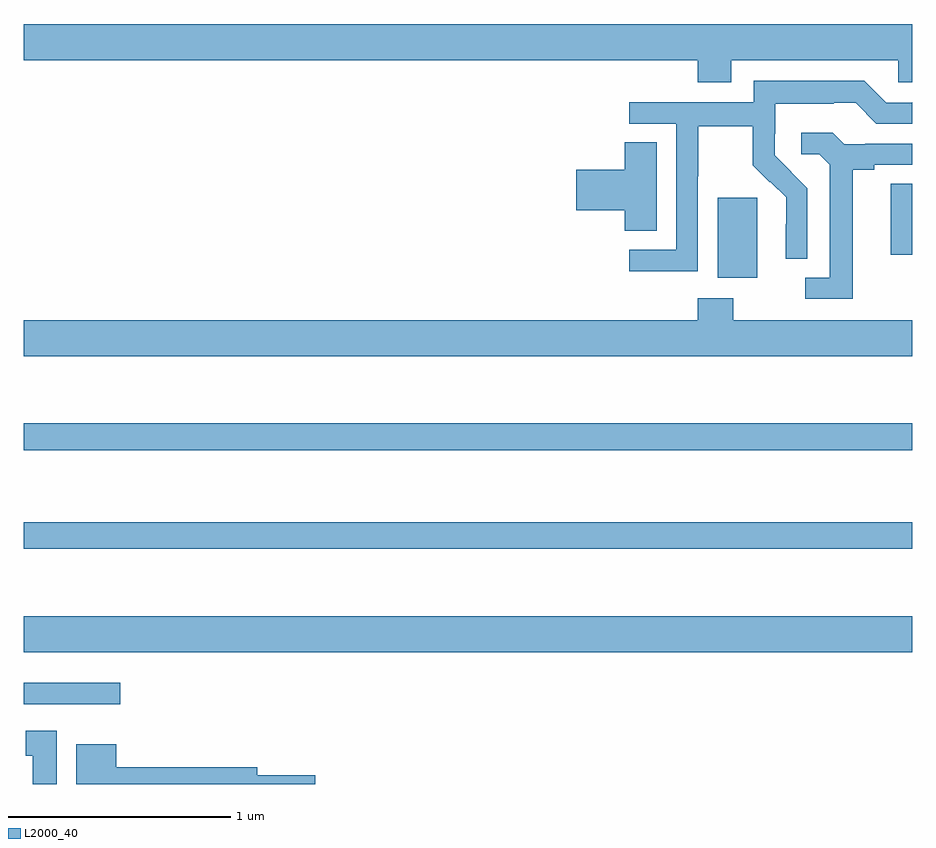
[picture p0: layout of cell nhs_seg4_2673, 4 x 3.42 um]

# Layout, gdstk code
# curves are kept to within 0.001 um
import gdstk
lib = gdstk.Library(unit=1e-6, precision=1e-09)
def R(c, l, rs):  # rectangles x0, y0, x1, y1
    for r in rs: c.add(gdstk.rectangle(r[:2], r[2:], *l))
def P(c, l, *ps):  # polygons
    for p in ps: c.add(gdstk.Polygon(p, *l))
L2000_40 = (2000, 40)

nhs_seg4_2673 = lib.new_cell('nhs_seg4_2673')
R(nhs_seg4_2673, L2000_40, [(251,791.259,251.434,791.356), (251,791.492,255,791.656), (251,791.958,255,792.079), (251,792.402,255,792.523), (254.123,793.178,254.302,793.539), (254.903,793.281,255,793.601)])
P(nhs_seg4_2673, L2000_40, [(254.185,794.156),(254.937,794.156),(254.937,794.058),(255,794.058),(255,794.32),(251,794.32),(251,794.156),(254.033,794.156),(254.033,794.057),(254.185,794.057)],
  [(254.034,793.636),(254.037,793.636),(254.037,793.86),(254.281,793.86),(254.281,793.685),(254.358,793.608),(254.361,793.611),(254.432,793.541),(254.432,793.418),(254.43,793.418),(254.43,793.264),(254.526,793.264),(254.526,793.582),(254.38,793.73),(254.38,793.827),(254.382,793.827),(254.382,793.961),(254.645,793.961),(254.645,793.965),(254.745,793.965),(254.838,793.872),(255,793.872),(255,793.968),(254.999,793.965),(254.883,793.965),(254.783,794.065),(254.286,794.065),(254.286,793.968),(253.725,793.968),(253.725,793.872),(253.938,793.872),(253.938,793.305),(253.725,793.305),(253.725,793.207),(254.034,793.207)],
  [(254.731,793.664),(254.827,793.664),(254.827,793.686),(255,793.686),(255,793.782),(254.788,793.782),(254.788,793.779),(254.694,793.779),(254.642,793.831),(254.499,793.831),(254.499,793.734),(254.58,793.734),(254.627,793.687),(254.627,793.179),(254.517,793.179),(254.517,793.083),(254.731,793.083)],
  [(253.849,793.787),(253.706,793.787),(253.706,793.664),(253.488,793.664),(253.488,793.481),(253.706,793.481),(253.706,793.39),(253.849,793.39)],
  [(255,792.988),(254.193,792.988),(254.193,793.087),(254.033,793.087),(254.033,792.988),(251,792.988),(251,792.824),(255,792.824)],
  [(251.149,791.14),(251.009,791.14),(251.009,791.027),(251.042,791.027),(251.042,790.9),(251.149,790.9)],
  [(252.313,790.94),(252.052,790.94),(252.052,790.976),(251.416,790.976),(251.416,791.08),(251.237,791.08),(251.237,790.9),(252.313,790.9)])

lib.write_gds('nhs_seg4_2673.gds')
